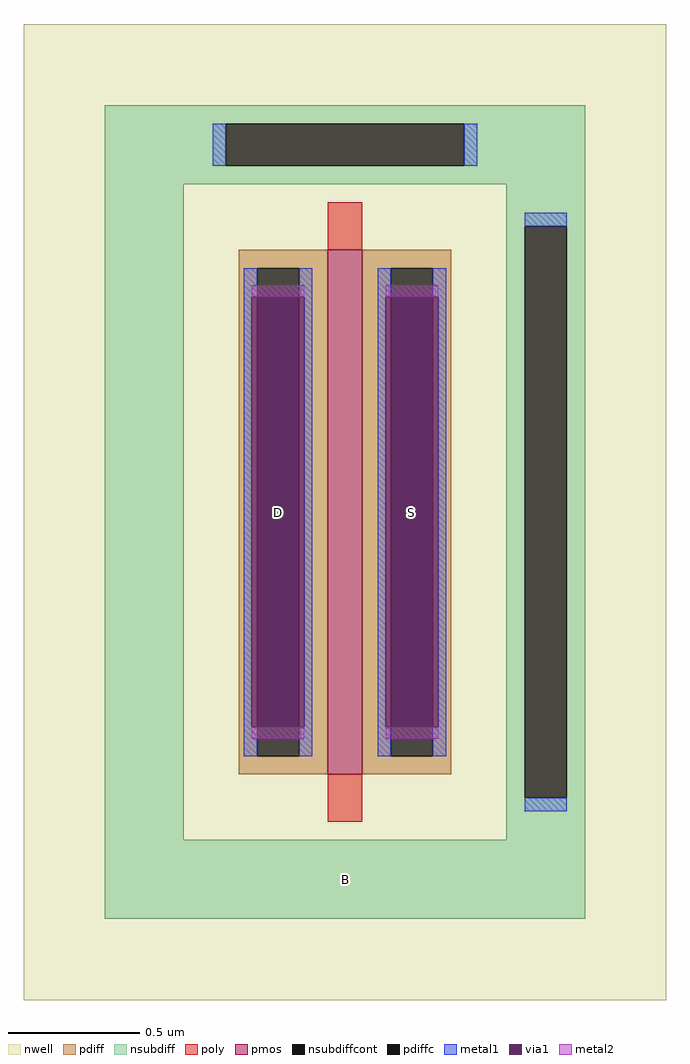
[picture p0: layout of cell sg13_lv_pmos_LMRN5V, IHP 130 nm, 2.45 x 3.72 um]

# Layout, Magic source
magic
tech ihp-sg13g2
magscale 1 2
<< nwell >>
rect -245 -372 245 372
<< pmos >>
rect -13 -200 13 200
<< pdiff >>
rect -81 186 -13 200
rect -81 -186 -67 186
rect -35 -186 -13 186
rect -81 -200 -13 -186
rect 13 186 81 200
rect 13 -186 35 186
rect 67 -186 81 186
rect 13 -200 81 -186
<< pdiffc >>
rect -67 -186 -35 186
rect 35 -186 67 186
<< nsubdiff >>
rect -183 296 183 310
rect -183 264 -91 296
rect 91 264 183 296
rect -183 250 183 264
rect -183 -250 -123 250
rect 123 218 183 250
rect 123 -218 137 218
rect 169 -218 183 218
rect 123 -250 183 -218
rect -183 -310 183 -250
<< nsubdiffcont >>
rect -91 264 91 296
rect 137 -218 169 218
<< poly >>
rect -13 200 13 236
rect -13 -236 13 -200
<< metal1 >>
rect -101 264 -91 296
rect 91 264 101 296
rect 137 218 169 228
rect -77 164 -67 186
rect -35 164 -25 186
rect -77 -164 -71 164
rect -31 -164 -25 164
rect -77 -186 -67 -164
rect -35 -186 -25 -164
rect 25 164 35 186
rect 67 164 77 186
rect 25 -164 31 164
rect 71 -164 77 164
rect 25 -186 35 -164
rect 67 -186 77 -164
rect 137 -228 169 -218
<< via1 >>
rect -71 -164 -67 164
rect -67 -164 -35 164
rect -35 -164 -31 164
rect 31 -164 35 164
rect 35 -164 67 164
rect 67 -164 71 164
<< metal2 >>
rect -71 164 -31 173
rect -71 -173 -31 -164
rect 31 164 71 173
rect 31 -173 71 -164
<< labels >>
rlabel nsubdiff 0 -280 0 -280 0 B
port 1 nsew
rlabel pdiffc -51 0 -51 0 0 D
port 2 nsew
rlabel pdiffc 51 0 51 0 0 S
port 3 nsew
<< properties >>
string FIXED_BBOX -153 -280 153 280
string gencell sg13_lv_pmos
string library sg13g2
string parameters w 2 l 0.13 m 1 nf 1 diffcov 100 polycov 100 guard 1 glc 0 grc 1 gtc 1 gbc 0 tbcov 100 rlcov 100 topc 0 botc 0 poverlap 0 doverlap 1 lmin 0.13 wmin 0.15 class mosfet compatible {sg13_lv_pmos sg13_hv_pmos} full_metal 0 conn_gates 0 gate_ring 0 ccols 1 viasrc 100 viadrn 100 viagate 100 viagb 0 viagr 0 viagl 0 viagt 0 doports 1
<< end >>
